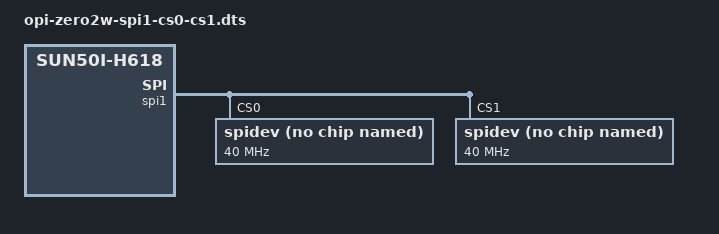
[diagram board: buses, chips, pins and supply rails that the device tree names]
/dts-v1/;
/plugin/;

/*
 * Candidate replacement for spidev_spi1_cs0_cs1.dtbo on the audited
 * Orange Pi Zero 2W DTB (6.12.47-current-sunxi64).
 * Explicitly mux both native CS pins; the base DT only selects CS1.
 * Offline merge verified. Physical wiring and transfers are not verified.
 * This provides logical CS0/CS1 only; it does not provide PN532's CS2.
 * Use instead of the old overlay, not together with other SPI1 overlays.
 */
/ {
    compatible = "xunlong,orangepi-zero2w", "allwinner,sun50i-h618";

    fragment@0 {
        target = <&spi1>;
        __overlay__ {
            #address-cells = <1>;
            #size-cells = <0>;
            status = "okay";
            pinctrl-names = "default";
            pinctrl-0 = <&spi1_pins &spi1_cs0_pin &spi1_cs1_pin>;
            cs-gpios = <0>, <0>;
            num-cs = <2>;

            spidev@0 {
                compatible = "rohm,dh2228fv";
                reg = <0>;
                spi-max-frequency = <40000000>;
                status = "okay";
            };

            spidev@1 {
                compatible = "rohm,dh2228fv";
                reg = <1>;
                spi-max-frequency = <40000000>;
                status = "okay";
            };
        };
    };
};
